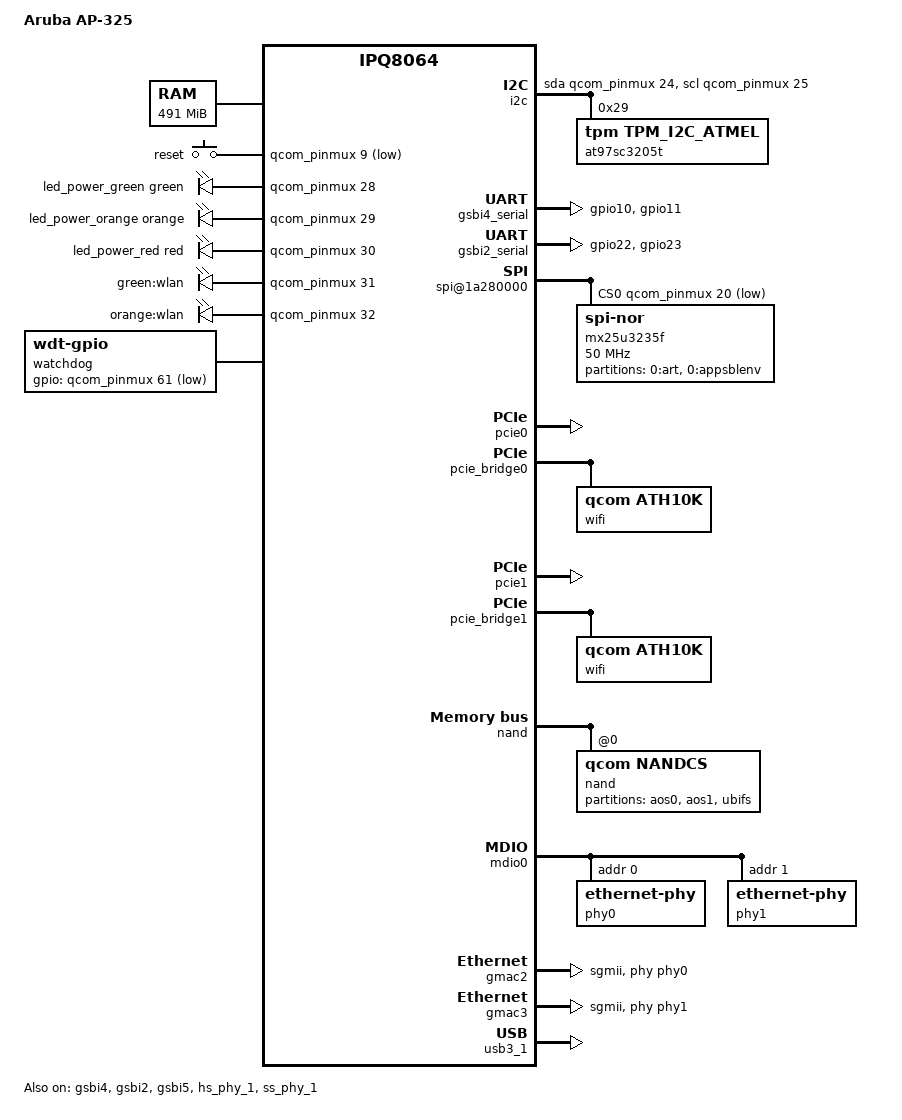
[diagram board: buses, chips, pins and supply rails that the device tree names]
// SPDX-License-Identifier: GPL-2.0-or-later OR MIT

#include "qcom-ipq8064-v2.0.dtsi"

#include <dt-bindings/gpio/gpio.h>
#include <dt-bindings/input/input.h>
#include <dt-bindings/leds/common.h>

/ {
	model = "Aruba AP-325";
	compatible = "aruba,ap-325", "qcom,ipq8064";

	memory@0 {
		reg = <0x41500000 0x1eb00000>;
		device_type = "memory";
	};

	reserved-memory {
		ramoops@42100000 {
			compatible = "ramoops";
			reg = <0x42100000 0x80000>;
			record-size = <0x10000>;
			console-size = <0x10000>;
			ftrace-size = <0x10000>;
			pmsg-size = <0x10000>;
		};
	};

	aliases {
		serial0 = &gsbi4_serial;
		serial1 = &gsbi2_serial;

		ethernet0 = &gmac2;
		ethernet1 = &gmac3;

		led-boot = &led_power_orange;
		led-failsafe = &led_power_red;
		led-running = &led_power_green;
		led-upgrade = &led_power_orange;

		label-mac-device = &gmac2;
	};

	chosen {
		stdout-path = "serial0:115200n8";
		bootargs-append = "ubi.mtd=aos1 ubi.block=0,aos1 root=/dev/ubiblock0_0";
	};

	keys {
		compatible = "gpio-keys";
		pinctrl-0 = <&button_pins>;
		pinctrl-names = "default";

		reset {
			label = "reset";
			gpios = <&qcom_pinmux 9 GPIO_ACTIVE_LOW>;
			linux,code = <KEY_RESTART>;
			debounce-interval = <60>;
			wakeup-source;
		};
	};

	leds {
		compatible = "gpio-leds";
		pinctrl-0 = <&led_pins>;
		pinctrl-names = "default";

		led_power_green: power_green {
			function = LED_FUNCTION_POWER;
			color = <LED_COLOR_ID_GREEN>;
			gpios = <&qcom_pinmux 28 GPIO_ACTIVE_HIGH>;
		};

		led_power_orange: power_orange {
			function = LED_FUNCTION_POWER;
			color = <LED_COLOR_ID_ORANGE>;
			gpios = <&qcom_pinmux 29 GPIO_ACTIVE_HIGH>;
		};

		led_power_red: power_red {
			function = LED_FUNCTION_POWER;
			color = <LED_COLOR_ID_RED>;
			gpios = <&qcom_pinmux 30 GPIO_ACTIVE_HIGH>;
		};

		led_wlan_green {
			label = "green:wlan";
			gpios = <&qcom_pinmux 31 GPIO_ACTIVE_HIGH>;
			linux,default-trigger = "phy0tpt";
		};

		led_wlan_orange {
			label = "orange:wlan";
			gpios = <&qcom_pinmux 32 GPIO_ACTIVE_HIGH>;
			linux,default-trigger = "phy1tpt";
		};
	};

	watchdog {
		compatible = "linux,wdt-gpio";
		gpios = <&qcom_pinmux 61 GPIO_ACTIVE_LOW>;
		hw_algo = "toggle";
		hw_margin_ms = <1000>;
		always-running;

		pinctrl-names = "default";
		pinctrl-0 = <&watchdog_pins>;
	};

	i2c {
		compatible = "i2c-gpio";

		sda-gpios = <&qcom_pinmux 24 (GPIO_ACTIVE_HIGH | GPIO_OPEN_DRAIN)>;
		scl-gpios = <&qcom_pinmux 25 (GPIO_ACTIVE_HIGH | GPIO_OPEN_DRAIN)>;

		#address-cells = <1>;
		#size-cells = <0>;

		at97sc3205t@29 {
			compatible = "tpm,tpm_i2c_atmel";
			reg = <0x29>;
		};
	};
};

&qcom_pinmux {
	led_pins: led_pins {
		mux {
			pins = "gpio28", "gpio29", "gpio30", "gpio31", "gpio32";
			function = "gpio";
			drive-strength = <12>;
			bias-pull-up;
		};
	};

	button_pins: button_pins {
		mux {
			pins = "gpio9";
			function = "gpio";
			bias-pull-up;
		};
	};

	uart0_pins: uart0_pins {
		mux {
			pins = "gpio10", "gpio11";
			function = "gsbi4";
			drive-strength = <10>;
			bias-disable;
		};
	};

	uart1_pins: uart1_pins {
		mux {
			pins = "gpio22", "gpio23";
			function = "gsbi2";
			drive-strength = <10>;
			bias-disable;
		};
	};

	watchdog_pins: watchdog_pins {
		mux {
			pins = "gpio61";
			function = "gpio";
			drive-strength = <10>;
			bias-disable;
		};
	};
	/* used for USB over-current detection instead */
	/delete-node/ pcie2_pins;
};

&gsbi4 {
	status = "okay";
	qcom,mode = <GSBI_PROT_I2C_UART>;
};

&gsbi4_serial {
	status = "okay";
	pinctrl-0 = <&uart0_pins>;
	pinctrl-names = "default";
};

&gsbi2 {
	status = "okay";
	qcom,mode = <GSBI_PROT_I2C_UART>;
};

&gsbi2_serial {
	status = "okay";
	pinctrl-0 = <&uart1_pins>;
	pinctrl-names = "default";
};

&gsbi5 {
	qcom,mode = <GSBI_PROT_SPI>;
	status = "okay";

	spi@1a280000 {
		status = "okay";
		spi-max-frequency = <50000000>;

		pinctrl-0 = <&spi_pins>;
		pinctrl-names = "default";

		cs-gpios = <&qcom_pinmux 20 GPIO_ACTIVE_LOW>;

		mx25u3235f@0 {
			compatible = "jedec,spi-nor";
			#address-cells = <1>;
			#size-cells = <1>;
			spi-max-frequency = <50000000>;
			reg = <0>;

			partitions {
				compatible = "qcom,smem-part";

				partition-art {
					compatible = "nvmem-cells";
					#address-cells = <1>;
					#size-cells = <1>;
					label = "0:art";

					precal_art_1000: precal@1000 {
						reg = <0x1000 0x2f20>;
					};

					precal_art_5000: precal@5000 {
						reg = <0x5000 0x2f20>;
					};
				};

				partition-appsblenv {
					label = "0:appsblenv";

					nvmem-layout {
						compatible = "u-boot,env";

						macaddr_lan: ethaddr {
							#nvmem-cell-cells = <1>;
						};
					};
				};
			};
		};
	};
};

&pcie0 {
	status = "okay";
};

&pcie_bridge0 {
	wifi@0,0 {
		compatible = "qcom,ath10k";
		status = "okay";
		reg = <0x10000 0 0 0 0>;

		nvmem-cells = <&precal_art_1000>;
		nvmem-cell-names = "pre-calibration";
	};
};

&pcie1 {
	status = "okay";
};

&pcie_bridge1 {
	wifi@0,0 {
		compatible = "qcom,ath10k";
		status = "okay";
		reg = <0x10000 0 0 0 0>;

		nvmem-cells = <&precal_art_5000>;
		nvmem-cell-names = "pre-calibration";
	};
};

&nand {
	status = "okay";

	nand@0 {
		compatible = "qcom,nandcs";

		reg = <0>;

		nand-ecc-strength = <4>;
		nand-bus-width = <8>;
		nand-ecc-step-size = <512>;

		partitions {
			compatible = "fixed-partitions";
			#address-cells = <1>;
			#size-cells = <1>;

			aos0@0 {
				label = "aos0";
				reg = <0x0 0x2000000>;
			};

			aos1@2000000 {
				label = "aos1";
				reg = <0x2000000 0x2000000>;
			};

			ubifs@4000000 {
				label = "ubifs";
				reg = <0x4000000 0x4000000>;
			};
		};
	};
};

&mdio0 {
	status = "okay";

	pinctrl-0 = <&mdio0_pins>;
	pinctrl-names = "default";

	phy0: ethernet-phy@0 {
		reg = <0>;
	};

	phy1: ethernet-phy@1 {
		reg = <1>;
	};
};

&gmac2 {
	status = "okay";

	qcom,id = <2>;
	mdiobus = <&mdio0>;

	phy-mode = "sgmii";
	phy-handle = <&phy0>;

	nvmem-cells = <&macaddr_lan 0>;
	nvmem-cell-names = "mac-address";
};

&gmac3 {
	status = "okay";

	qcom,id = <3>;
	mdiobus = <&mdio0>;

	phy-mode = "sgmii";
	phy-handle = <&phy1>;

	nvmem-cells = <&macaddr_lan 1>;
	nvmem-cell-names = "mac-address";
};

&adm_dma {
	status = "okay";
};

/* USB Port 0 is connected to the onboard BLE SoC.
 * The stock FW on that doesn't implement USB, so to prevent errors from
 * being logged when the host fails to initialize it, it's disabled by
 * default here. */
&hs_phy_0 {
	status = "disabled";
};

&ss_phy_0 {
	status = "disabled";
};

&usb3_0 {
	status = "disabled";
};

&hs_phy_1 {
	status = "okay";
};

&ss_phy_1 {
	status = "okay";
};

&usb3_1 {
	status = "okay";
};
